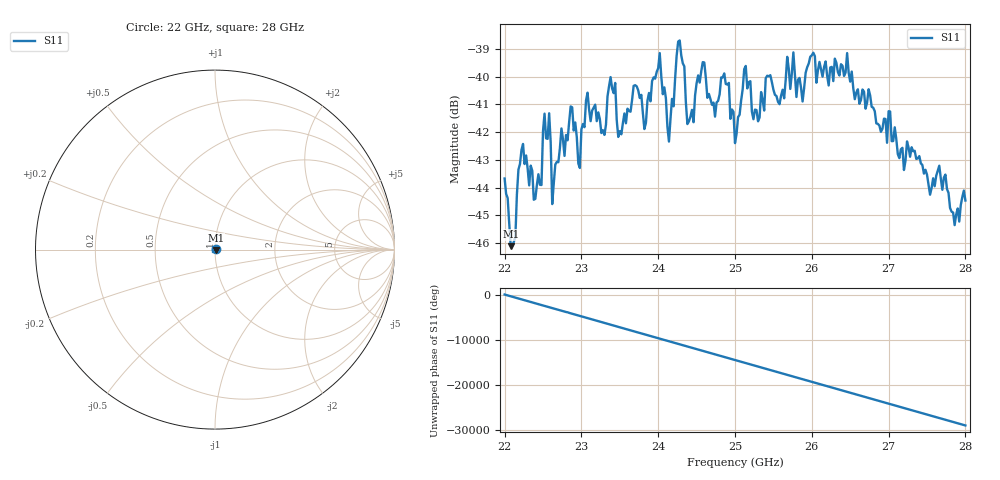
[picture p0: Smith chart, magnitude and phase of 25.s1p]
#  HZ  S  RI  R  50.00
! Rohde & Schwarz ZVA40 4Ports - Version 3.90 - 1145.1110k42 SN: 100403
! Date: 2023-10-04 07:20:01
! Measurement: S12
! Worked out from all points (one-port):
!   301 points, 22 GHz to 28 GHz, reference 50 ohm
!   lowest |S11| = -46.1 dB at 22.08 GHz (marker M1), VSWR 1.01, Z = 50.4 - j0.215 ohm
!   |S11| at or under -10 dB: start of sweep to end of sweep
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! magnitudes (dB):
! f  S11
! 22 GHz  -43.7
! 22.08 GHz  -46.1
! 22.24 GHz  -42.4
! 22.4 GHz  -44.4
! 22.58 GHz  -41.3
! 22.62 GHz  -44.6
! 22.76 GHz  -42.3
! 22.88 GHz  -41.1
! 22.98 GHz  -43.3
! 23.08 GHz  -40.6
! 23.3 GHz  -42.1
! 23.38 GHz  -40.0
! 23.5 GHz  -42.0
! 23.7 GHz  -40.3
! 23.82 GHz  -41.9
! 24.02 GHz  -39.2
! 24.14 GHz  -42.3
! 24.26 GHz  -38.7
! 24.38 GHz  -41.7
! 24.6 GHz  -39.5
! 25 GHz  -42.4
! 25.14 GHz  -39.6
! 25.3 GHz  -41.6
! 25.76 GHz  -39.1
! 25.88 GHz  -40.9
! 26.5 GHz  -40.2
! 27.26 GHz  -42.6
! 28 GHz  -44.5
